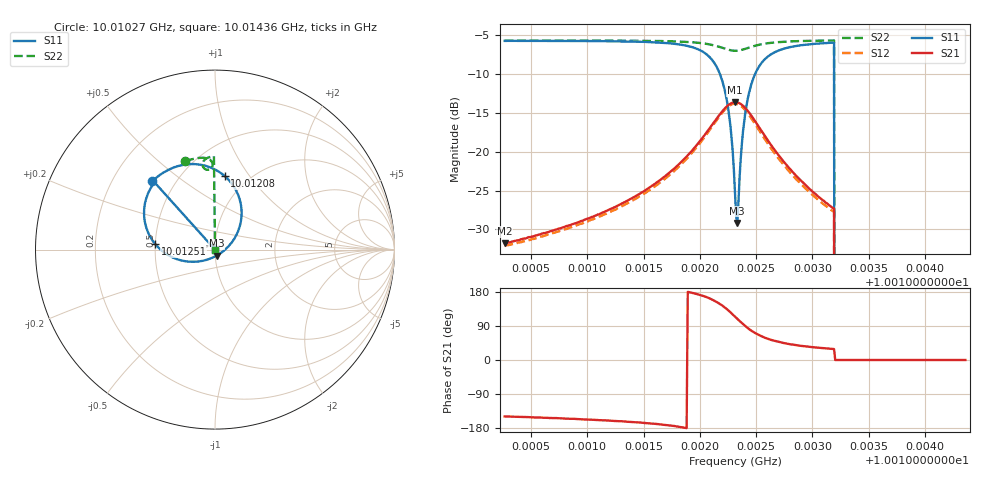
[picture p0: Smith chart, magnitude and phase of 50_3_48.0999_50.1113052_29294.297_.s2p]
#  HZ  S  RI  R  50.00
! Rohde & Schwarz Vector Network Analyzer
! Rohde-Schwarz,ZNB20-2Port,1311601062101988,3.16
! Created: UTC 12/23/2023, 3:39:40 AM
! freq[Hz]  re:S11  im:S11  re:S21  im:S21  re:S12  im:S12  re:S22  im:S22
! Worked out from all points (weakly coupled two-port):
!   401 points, 10.01027 GHz to 10.01436 GHz, reference 50 ohm
!   highest |S21| = -13.62 dB at 10.01231 GHz (marker M1); lowest = -31.8 dB at 10.01027 GHz (marker M2)
!   lowest |S11| = -29.2 dB at 10.01233 GHz (marker M3), VSWR 1.07, Z = 50.8 - j3.42 ohm
!   |S11| at or under -10 dB: 10.01218 GHz to 10.01249 GHz (312.5 kHz wide, 0.00312 % of centre); 10.01319 GHz to end of sweep
!   |S22| runs from - to -5.7 dB; largest |S21 - S12| = 0.0096
!   S11 on the Smith chart (normalised r, x): 10.01027 GHz: 0.37, +0.39; 10.01208 GHz: 0.78, +0.77; 10.01251 GHz: 0.50, +0.03; 10.01436 GHz: 1.00, +0.00
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1.0010266e10  -0.3493 0.3814  -0.022 -0.0133  -0.0203 -0.0139  -0.1648 0.4924
1.0010952e10  -0.2931 0.4253  -0.0329 -0.0143  -0.0308 -0.0154  -0.1194 0.5055
1.0011637e10  -0.1804 0.4715  -0.0636 -0.0119  -0.0608 -0.0147  -0.0664 0.5119
1.0011924e10  -0.0618 0.4691  -0.1002 0.00387  -0.0972 -0.00158  -0.0372 0.5059
1.0012077e10  0.0541 0.4098  -0.1329 0.0384  -0.1312 0.0308  -0.0193 0.492
1.001217e10  0.1302 0.3016  -0.1471 0.0867  -0.1481 0.0774  -0.0133 0.4741
1.0012231e10  0.1472 0.1791  -0.14 0.1327  -0.1428 0.124  -0.0171 0.4587
1.0012272e10  0.121 0.0849  -0.1197 0.1649  -0.1233 0.1573  -0.0253 0.4497
1.0012313e10  0.0548 -0.00151  -0.0859 0.1899  -0.0906 0.1826  -0.0374 0.445
1.0012323e10  0.0339 -0.018  -0.0764 0.1938  -0.0809 0.1868  -0.0406 0.4448
1.0012333e10  0.00911 -0.0336  -0.0657 0.197  -0.071 0.19  -0.0441 0.4449
1.0012344e10  -0.0141 -0.0452  -0.0562 0.1988  -0.0609 0.1922  -0.0474 0.4455
1.0012374e10  -0.0918 -0.0663  -0.0258 0.1988  -0.0297 0.1925  -0.0562 0.4495
1.0012405e10  -0.1675 -0.0645  0.0023 0.1909  -0.00253 0.1848  -0.0629 0.4556
1.0012446e10  -0.25 -0.0368  0.0308 0.1729  0.0247 0.1671  -0.0679 0.4656
1.0012507e10  -0.3331 0.0309  0.0549 0.1406  0.0488 0.1363  -0.0686 0.4797
1.0012671e10  -0.395 0.1916  0.0649 0.0777  0.0592 0.0762  -0.0545 0.5029
1.0012999e10  -0.3622 0.3354  0.0461 0.031  0.0424 0.0315  -0.0224 0.5175
1.0013173e10  -0.3395 0.3714  0.0382 0.0216  0.0354 0.0223  -0.0076 0.5199
1.0013224e10  0 0  0 0  0 0  0 0
1.0013684e10  0 0  0 0  0 0  0 0
1.001436e10  0 0  0 0  0 0  0 0
